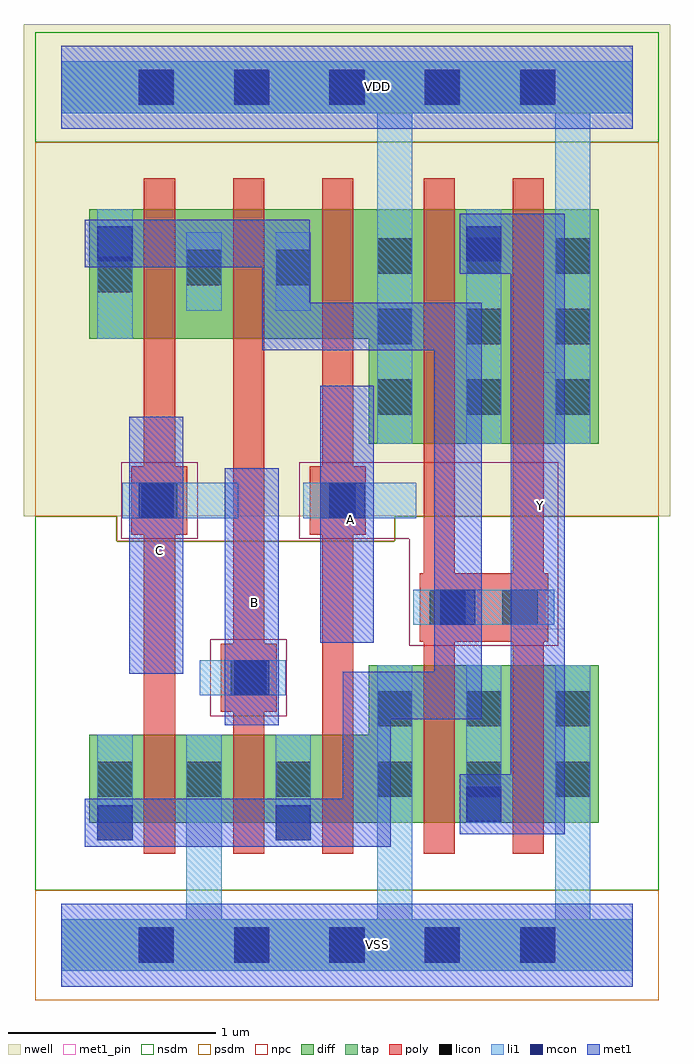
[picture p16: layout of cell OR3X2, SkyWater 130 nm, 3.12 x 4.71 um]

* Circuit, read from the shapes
.subckt OR3X2 A B C VDD VSS Y
XM1 VSS C n1 VSS sky130_fd_pr__nfet_01v8 w=0.425 l=0.15
XM2 n1 B VSS VSS sky130_fd_pr__nfet_01v8 w=0.425 l=0.15
XM3 VSS A n1 VSS sky130_fd_pr__nfet_01v8 w=0.425 l=0.15
XM4 Y n1 VSS VSS sky130_fd_pr__nfet_01v8 w=0.76 l=0.15 m=2
XM5 n2 C n1 VDD sky130_fd_pr__pfet_01v8 w=0.625 l=0.15
XM6 n3 B n2 VDD sky130_fd_pr__pfet_01v8 w=0.625 l=0.15
XM7 VDD A n3 VDD sky130_fd_pr__pfet_01v8 w=0.625 l=0.15
XM8 Y n1 VDD VDD sky130_fd_pr__pfet_01v8 w=1.13 l=0.15 m=2
.ends

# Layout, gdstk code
from math import pi, radians
import gdstk
lib = gdstk.Library(unit=1e-6, precision=1e-09)
def R(c, l, rs):  # rectangles x0, y0, x1, y1
    for r in rs: c.add(gdstk.rectangle(r[:2], r[2:], *l))
def A(c, l, x, y, w, h, nx, ny, dx, dy):  # array of equal rectangles
    R(c, l, [(x+i*dx, y+j*dy, x+i*dx+w, y+j*dy+h) for i in range(nx) for j in range(ny)])
def P(c, l, *ps):  # polygons
    for p in ps: c.add(gdstk.Polygon(p, *l))
nwell = (64, 20)
diff = (65, 20)
tap = (65, 44)
poly = (66, 20)
licon = (66, 44)
li1 = (67, 20)
mcon = (67, 44)
met1_pin = (68, 16)
met1 = (68, 20)
nsdm = (93, 44)
psdm = (94, 20)
npc = (95, 20)

pfet_01v8_cdns_715785618 = lib.new_cell('pfet_01v8_CDNS_7157856182032')
R(pfet_01v8_cdns_715785618, nwell, [(-0.405,-0.18,0.385,0.805)])
R(pfet_01v8_cdns_715785618, diff, [(-0.225,0,0,0.625), (0,0,0.15,0.625), (0.15,0,0.205,0.625)])
R(pfet_01v8_cdns_715785618, poly, [(0,-0.15,0.15,-0.095), (0,-0.095,0.15,0), (0,0,0.15,0.625), (0,0.625,0.15,0.72), (0,0.72,0.15,0.775)])
R(pfet_01v8_cdns_715785618, psdm, [(-0.235,-0.13,0.215,0.755)])

c_pfet_01v8_cdns_715785618 = lib.new_cell('pfet_01v8_CDNS_7157856182023')
R(c_pfet_01v8_cdns_715785618, nwell, [(-0.445,-0.18,1.025,1.31)])
R(c_pfet_01v8_cdns_715785618, diff, [(-0.265,0,0,1.13), (0,0,0.15,1.13), (0.15,0,0.43,1.13), (0.43,0,0.58,1.13), (0.58,0,0.845,1.13)])
R(c_pfet_01v8_cdns_715785618, poly, [(0,-0.15,0.15,-0.095), (0.43,-0.15,0.58,-0.095), (0,-0.095,0.15,0), (0.43,-0.095,0.58,0), (0,0,0.15,1.13), (0.43,0,0.58,1.13), (0,1.13,0.15,1.225), (0.43,1.13,0.58,1.225), (0,1.225,0.15,1.28), (0.43,1.225,0.58,1.28)])
A(c_pfet_01v8_cdns_715785618, licon, -0.225, 0.14, 0.17, 0.17, 3, 3, 0.43, 0.34)
A(c_pfet_01v8_cdns_715785618, li1, -0.225, 0, 0.17, 1.13, 3, 1, 0.43, 0)
R(c_pfet_01v8_cdns_715785618, psdm, [(-0.405,-0.13,0.985,1.26)])

nfet_01v8_cdns_715785618 = lib.new_cell('nfet_01v8_CDNS_7157856182078')
R(nfet_01v8_cdns_715785618, diff, [(-0.055,0,0,0.425), (0,0,0.15,0.425), (0.15,0,0.375,0.425)])
R(nfet_01v8_cdns_715785618, poly, [(0,-0.15,0.15,-0.095), (0,-0.095,0.15,0), (0,0,0.15,0.425), (0,0.425,0.15,0.52), (0,0.52,0.15,0.575)])
R(nfet_01v8_cdns_715785618, licon, [(0.205,0.125,0.375,0.295)])
R(nfet_01v8_cdns_715785618, li1, [(0.205,0,0.375,0.425)])
R(nfet_01v8_cdns_715785618, nsdm, [(-0.065,-0.13,0.385,0.555)])

c_nfet_01v8_cdns_715785618 = lib.new_cell('nfet_01v8_CDNS_71578561820110')
R(c_nfet_01v8_cdns_715785618, diff, [(-0.075,0,0,0.425), (0,0,0.15,0.425), (0.15,0,0.205,0.425)])
R(c_nfet_01v8_cdns_715785618, poly, [(0,-0.15,0.15,-0.095), (0,-0.095,0.15,0), (0,0,0.15,0.425), (0,0.425,0.15,0.52), (0,0.52,0.15,0.575)])
R(c_nfet_01v8_cdns_715785618, nsdm, [(0.045,-0.13,0.215,0.555)])

c_pfet_01v8_cdns_715785618_ = lib.new_cell('pfet_01v8_CDNS_7157856182035')
R(c_pfet_01v8_cdns_715785618_, nwell, [(-0.255,-0.18,0.385,0.805)])
R(c_pfet_01v8_cdns_715785618_, diff, [(-0.075,0,0,0.625), (0,0,0.15,0.625), (0.15,0,0.205,0.625)])
R(c_pfet_01v8_cdns_715785618_, poly, [(0,-0.15,0.15,-0.095), (0,-0.095,0.15,0), (0,0,0.15,0.625), (0,0.625,0.15,0.72), (0,0.72,0.15,0.775)])
R(c_pfet_01v8_cdns_715785618_, psdm, [(0.045,-0.13,0.215,0.755)])

c_pfet_01v8_cdns_715785618__ = lib.new_cell('pfet_01v8_CDNS_7157856182098')
R(c_pfet_01v8_cdns_715785618__, nwell, [(-0.405,-0.18,0.595,0.805)])
R(c_pfet_01v8_cdns_715785618__, diff, [(-0.225,0,0,0.625), (0,0,0.15,0.625), (0.15,0,0.415,0.625)])
R(c_pfet_01v8_cdns_715785618__, poly, [(0,-0.15,0.15,-0.095), (0,-0.095,0.15,0), (0,0,0.15,0.625), (0,0.625,0.15,0.72), (0,0.72,0.15,0.775)])
R(c_pfet_01v8_cdns_715785618__, licon, [(0.205,0.225,0.375,0.395)])
R(c_pfet_01v8_cdns_715785618__, li1, [(0.205,0,0.375,0.625)])
R(c_pfet_01v8_cdns_715785618__, psdm, [(-0.235,-0.13,0.555,0.755)])

c_nfet_01v8_cdns_715785618_ = lib.new_cell('nfet_01v8_CDNS_7157856182028')
R(c_nfet_01v8_cdns_715785618_, diff, [(-0.265,0,0,0.76), (0,0,0.15,0.76), (0.15,0,0.43,0.76), (0.43,0,0.58,0.76), (0.58,0,0.845,0.76)])
R(c_nfet_01v8_cdns_715785618_, poly, [(0,-0.15,0.15,-0.095), (0.43,-0.15,0.58,-0.095), (0,-0.095,0.15,0), (0.43,-0.095,0.58,0), (0,0,0.15,0.76), (0.43,0,0.58,0.76), (0,0.76,0.15,0.855), (0.43,0.76,0.58,0.855), (0,0.855,0.15,0.91), (0.43,0.855,0.58,0.91)])
A(c_nfet_01v8_cdns_715785618_, licon, -0.225, 0.125, 0.17, 0.17, 3, 2, 0.43, 0.34)
A(c_nfet_01v8_cdns_715785618_, li1, -0.225, 0, 0.17, 0.76, 3, 1, 0.43, 0)
R(c_nfet_01v8_cdns_715785618_, nsdm, [(-0.405,-0.13,0.985,0.89)])

c_nfet_01v8_cdns_715785618__ = lib.new_cell('nfet_01v8_CDNS_7157856182096')
R(c_nfet_01v8_cdns_715785618__, diff, [(-0.265,0,0,0.425), (0,0,0.15,0.425), (0.15,0,0.375,0.425)])
R(c_nfet_01v8_cdns_715785618__, poly, [(0,-0.15,0.15,-0.095), (0,-0.095,0.15,0), (0,0,0.15,0.425), (0,0.425,0.15,0.52), (0,0.52,0.15,0.575)])
R(c_nfet_01v8_cdns_715785618__, licon, [(-0.225,0.125,-0.055,0.295), (0.205,0.125,0.375,0.295)])
R(c_nfet_01v8_cdns_715785618__, li1, [(-0.225,0,-0.055,0.425), (0.205,0,0.375,0.425)])
R(c_nfet_01v8_cdns_715785618__, nsdm, [(-0.405,-0.13,0.385,0.555)])

l1m1_c_cdns_715785618202 = lib.new_cell('L1M1_C_CDNS_7157856182024')
R(l1m1_c_cdns_715785618202, li1, [(-0.085,-0.085,0.085,0.165)])
R(l1m1_c_cdns_715785618202, mcon, [(-0.085,-0.085,0.085,0.085)])
R(l1m1_c_cdns_715785618202, met1, [(-0.145,-0.115,0.145,0.115)])

l1m1_c_cdns_715785618203 = lib.new_cell('L1M1_C_CDNS_715785618203')
R(l1m1_c_cdns_715785618203, li1, [(-0.165,-0.085,0.165,0.085)])
R(l1m1_c_cdns_715785618203, mcon, [(-0.085,-0.085,0.085,0.085)])
R(l1m1_c_cdns_715785618203, met1, [(-0.115,-0.145,0.115,0.145)])

l1m1_c_cdns_715785618201 = lib.new_cell('L1M1_C_CDNS_7157856182010')
R(l1m1_c_cdns_715785618201, li1, [(-0.085,-0.085,0.085,0.165)])
R(l1m1_c_cdns_715785618201, mcon, [(-0.085,-0.085,0.085,0.085)])
R(l1m1_c_cdns_715785618201, met1, [(-0.115,-0.145,0.115,0.145)])

licondiff_c_cdns_7157856 = lib.new_cell('LICONDIFF_C_CDNS_7157856182013')
R(licondiff_c_cdns_7157856, diff, [(-0.125,-0.145,0.125,0.145)])
R(licondiff_c_cdns_7157856, licon, [(-0.085,-0.085,0.085,0.085), (-0.085,-0.085,0.085,0.085)])

pyl1con_c_cdns_715785618 = lib.new_cell('PYL1CON_C_CDNS_715785618200')
R(pyl1con_c_cdns_715785618, poly, [(-0.135,-0.165,0.135,0.165)])
R(pyl1con_c_cdns_715785618, licon, [(-0.085,-0.085,0.085,0.085)])
R(pyl1con_c_cdns_715785618, npc, [(-0.185,-0.185,0.185,0.185)])

l1m1_c_cdns_715785618206 = lib.new_cell('L1M1_C_CDNS_715785618206')
R(l1m1_c_cdns_715785618206, li1, [(-0.085,-0.165,0.085,0.165)])
R(l1m1_c_cdns_715785618206, mcon, [(-0.085,-0.085,0.085,0.085)])
R(l1m1_c_cdns_715785618206, met1, [(-0.145,-0.115,0.145,0.115)])

c_l1m1_c_cdns_715785618202 = lib.new_cell('L1M1_C_CDNS_715785618202')
R(c_l1m1_c_cdns_715785618202, li1, [(-0.085,-0.165,0.085,0.165)])
R(c_l1m1_c_cdns_715785618202, mcon, [(-0.085,-0.085,0.085,0.085)])
R(c_l1m1_c_cdns_715785618202, met1, [(-0.115,-0.145,0.115,0.145)])

or3x2 = lib.new_cell('OR3X2')
R(or3x2, nwell, [(-0.18,2.07,2.94,4.305), (-0.18,3.875,2.94,4.445)])
R(or3x2, poly, [(1.73,1.465,2.35,1.795)])
A(or3x2, licon, 0.375, -0.085, 0.17, 0.17, 5, 1, 0.46, 0)
R(or3x2, licon, [(0.375,4.055,0.545,4.225), (0.375,4.055,0.545,4.225), (0.835,4.055,1.005,4.225), (0.835,4.055,1.005,4.225), (1.295,4.055,1.465,4.225), (1.295,4.055,1.465,4.225), (1.755,4.055,1.925,4.225), (1.755,4.055,1.925,4.225), (2.215,4.055,2.385,4.225), (2.215,4.055,2.385,4.225)])
A(or3x2, mcon, 0.375, -0.085, 0.17, 0.17, 5, 1, 0.46, 0)
R(or3x2, mcon, [(0.375,4.055,0.545,4.225), (0.375,4.055,0.545,4.225), (0.835,4.055,1.005,4.225), (0.835,4.055,1.005,4.225), (1.295,4.055,1.465,4.225), (1.295,4.055,1.465,4.225), (1.755,4.055,1.925,4.225), (1.755,4.055,1.925,4.225), (2.215,4.055,2.385,4.225), (2.215,4.055,2.385,4.225)])
R(or3x2, met1_pin, [(0,-0.2,2.76,0.2), (0.79,1.06,1.05,2.3), (0.33,1.31,0.59,2.55), (1.25,1.46,1.51,2.7), (2.17,1.525,2.43,2.765), (0,3.94,2.76,4.34)])
R(or3x2, nsdm, [(-0.125,3.875,2.885,4.405), (-0.125,3.875,2.885,4.405), (-0.125,3.93,2.885,4.35), (-0.125,3.93,2.885,4.35)])
P(or3x2, nsdm, [(2.885,2.07),(1.61,2.07),(1.61,1.95),(0.27,1.95),(0.27,2.07),(-0.125,2.07),(-0.125,0.265),(2.885,0.265)])
R(or3x2, psdm, [(-0.125,-0.265,2.885,0.265), (-0.125,-0.21,2.885,0.21)])
P(or3x2, psdm, [(2.885,3.875),(-0.125,3.875),(-0.125,2.07),(0.27,2.07),(0.27,1.95),(1.61,1.95),(1.61,2.07),(2.885,2.07)])
P(or3x2, npc, [(2.4,2.33),(1.15,2.33),(1.15,1.96),(1.68,1.96),(1.68,1.445),(2.4,1.445)])
or3x2.add(gdstk.FlexPath([(1.61,-0.125),(1.61,0.59)], 0.17, ends="flush", simple_path=True, layer=67, datatype=20))  # li1
or3x2.add(gdstk.FlexPath([(1.12,3.06),(1.12,3.44)], 0.17, ends="flush", simple_path=True, layer=67, datatype=20))  # li1
or3x2.add(gdstk.FlexPath([(1.7,1.63),(2.38,1.63)], 0.17, ends="flush", simple_path=True, layer=67, datatype=20))  # li1
or3x2.add(gdstk.FlexPath([(1.17,2.145),(1.715,2.145)], 0.17, ends="flush", simple_path=True, layer=67, datatype=20))  # li1
or3x2.add(gdstk.FlexPath([(0.74,1.29),(1.085,1.29)], 0.17, ends="flush", simple_path=True, layer=67, datatype=20))  # li1
or3x2.add(gdstk.FlexPath([(1.38,2.145),(1.17,2.145)], 0.17, ends="flush", simple_path=True, layer=67, datatype=20))  # li1
or3x2.add(gdstk.FlexPath([(0.755,1.29),(0.755,1.26)], 0.17, ends=(0.085, 0), simple_path=True, layer=67, datatype=20))  # li1
or3x2.add(gdstk.FlexPath([(0.69,-0.125),(0.69,0.59)], 0.17, ends="flush", simple_path=True, layer=67, datatype=20))  # li1
or3x2.add(gdstk.FlexPath([(0.69,3.06),(0.69,3.44)], 0.17, ends="flush", simple_path=True, layer=67, datatype=20))  # li1
or3x2.add(gdstk.FlexPath([(0.92,1.29),(0.755,1.29)], 0.17, ends=(0, 0.085), simple_path=True, layer=67, datatype=20))  # li1
or3x2.add(gdstk.FlexPath([(0.31,2.145),(0.855,2.145)], 0.17, ends="flush", simple_path=True, layer=67, datatype=20))  # li1
or3x2.add(gdstk.FlexPath([(2.47,3.55),(2.47,4.265)], 0.17, ends="flush", simple_path=True, layer=67, datatype=20))  # li1
or3x2.add(gdstk.FlexPath([(0.31,2.145),(0.855,2.145)], 0.17, ends="flush", simple_path=True, layer=67, datatype=20))  # li1
or3x2.add(gdstk.FlexPath([(2.675,4.14),(0,4.14)], 0.25, ends=(0.085, 0), simple_path=True, layer=67, datatype=20))  # li1
or3x2.add(gdstk.FlexPath([(2.675,4.14),(0,4.14)], 0.25, ends=(0.085, 0), simple_path=True, layer=67, datatype=20))  # li1
or3x2.add(gdstk.FlexPath([(1.61,3.55),(1.61,4.265)], 0.17, ends="flush", simple_path=True, layer=67, datatype=20))  # li1
or3x2.add(gdstk.FlexPath([(2.47,-0.125),(2.47,0.59)], 0.17, ends="flush", simple_path=True, layer=67, datatype=20))  # li1
or3x2.add(gdstk.FlexPath([(1.7,1.63),(2.38,1.63)], 0.17, ends="flush", simple_path=True, layer=67, datatype=20))  # li1
or3x2.add(gdstk.FlexPath([(2.675,0),(0,0)], 0.25, ends=(0.085, 0), simple_path=True, layer=67, datatype=20))  # li1
or3x2.add(gdstk.FlexPath([(0.475,2.925),(0.475,1.015)], 0.15, ends="flush", simple_path=True, layer=66, datatype=20))  # poly
or3x2.add(gdstk.FlexPath([(2.255,2.42),(2.255,1.35)], 0.15, ends="flush", simple_path=True, layer=66, datatype=20))  # poly
or3x2.add(gdstk.FlexPath([(1.825,2.42),(1.825,1.35)], 0.15, ends="flush", simple_path=True, layer=66, datatype=20))  # poly
or3x2.add(gdstk.FlexPath([(1.335,2.925),(1.335,1.015)], 0.15, ends="flush", simple_path=True, layer=66, datatype=20))  # poly
or3x2.add(gdstk.FlexPath([(0.905,2.925),(0.905,1.015)], 0.15, ends="flush", simple_path=True, layer=66, datatype=20))  # poly
or3x2.add(gdstk.FlexPath([(0,4.14),(2.76,4.14)], 0.25, ends="flush", simple_path=True, layer=65, datatype=44))  # tap
or3x2.add(gdstk.FlexPath([(0,4.14),(2.76,4.14)], 0.25, ends="flush", simple_path=True, layer=65, datatype=44))  # tap
or3x2.add(gdstk.FlexPath([(0,0),(2.76,0)], 0.25, ends="flush", simple_path=True, layer=65, datatype=44))  # tap
or3x2.add(gdstk.FlexPath([(1.085,2.985),(1.915,2.985)], 0.23, ends="extended", simple_path=True, layer=68, datatype=20))  # met1
or3x2.add(gdstk.FlexPath([(1.085,3.385),(1.085,2.985)], 0.23, ends="extended", simple_path=True, layer=68, datatype=20))  # met1
or3x2.add(gdstk.FlexPath([(1.915,1.26),(1.915,1.205)], 0.23, ends=(0, 0.115), simple_path=True, layer=68, datatype=20))  # met1
or3x2.add(gdstk.FlexPath([(0.275,3.385),(1.085,3.385)], 0.23, ends=(0, 0.115), simple_path=True, layer=68, datatype=20))  # met1
or3x2.add(gdstk.FlexPath([(1.475,0.59),(0.26,0.59)], 0.23, ends=(0.115, 0), simple_path=True, layer=68, datatype=20))  # met1
or3x2.add(gdstk.FlexPath([(2.155,0.68),(2.04,0.68)], 0.29, ends=(0.145, 0), simple_path=True, layer=68, datatype=20))  # met1
or3x2.add(gdstk.FlexPath([(2.3,3.53),(2.3,0.535)], 0.26, ends="flush", simple_path=True, layer=68, datatype=20))  # met1
or3x2.add(gdstk.FlexPath([(0.92,1.06),(0.92,2.3)], 0.26, ends="flush", simple_path=True, layer=68, datatype=20))  # met1
or3x2.add(gdstk.FlexPath([(2.155,0.535),(2.155,0.68)], 0.29, ends=(0, 0.145), simple_path=True, layer=68, datatype=20))  # met1
or3x2.add(gdstk.FlexPath([(1.915,2.985),(1.915,1.92)], 0.23, ends=(0.115, 0), simple_path=True, layer=68, datatype=20))  # met1
or3x2.add(gdstk.FlexPath([(1.915,1.92),(1.915,1.68)], 0.23, ends=(0, 0.115), simple_path=True, layer=68, datatype=20))  # met1
or3x2.add(gdstk.FlexPath([(1.915,1.68),(1.915,1.425)], 0.23, ends=(0, 0.115), simple_path=True, layer=68, datatype=20))  # met1
or3x2.add(gdstk.FlexPath([(0.46,1.31),(0.46,2.55)], 0.26, ends="flush", simple_path=True, layer=68, datatype=20))  # met1
or3x2.add(gdstk.FlexPath([(1.475,1.205),(1.475,0.59)], 0.23, ends="extended", simple_path=True, layer=68, datatype=20))  # met1
or3x2.add(gdstk.FlexPath([(1.38,1.46),(1.38,2.7)], 0.26, ends="flush", simple_path=True, layer=68, datatype=20))  # met1
or3x2.add(gdstk.FlexPath([(1.915,1.205),(1.475,1.205)], 0.23, ends="extended", simple_path=True, layer=68, datatype=20))  # met1
or3x2.add(gdstk.FlexPath([(0,0),(2.76,0)], 0.4, ends="flush", simple_path=True, layer=68, datatype=20))  # met1
or3x2.add(gdstk.FlexPath([(2.3,3.385),(2.04,3.385)], 0.29, ends="flush", simple_path=True, layer=68, datatype=20))  # met1
or3x2.add(gdstk.FlexPath([(1.915,1.425),(1.915,1.26)], 0.23, ends=(0, 0.115), simple_path=True, layer=68, datatype=20))  # met1
or3x2.add(gdstk.FlexPath([(0,4.14),(2.76,4.14)], 0.4, ends="flush", simple_path=True, layer=68, datatype=20))  # met1
or3x2.add(gdstk.FlexPath([(0,4.14),(2.76,4.14)], 0.4, ends="flush", simple_path=True, layer=68, datatype=16))  # met1_pin
or3x2.add(gdstk.Reference(pfet_01v8_cdns_715785618, (0.98,2.925), rotation=pi, x_reflection=True))
or3x2.add(gdstk.Reference(c_pfet_01v8_cdns_715785618, (1.75,2.42)))
or3x2.add(gdstk.Reference(nfet_01v8_cdns_715785618, (0.83,0.59)))
or3x2.add(gdstk.Reference(c_nfet_01v8_cdns_715785618, (1.41,0.59), rotation=pi, x_reflection=True))
or3x2.add(gdstk.Reference(c_pfet_01v8_cdns_715785618_, (1.41,2.925), rotation=pi, x_reflection=True))
or3x2.add(gdstk.Reference(c_pfet_01v8_cdns_715785618__, (0.55,2.925), rotation=pi, x_reflection=True))
or3x2.add(gdstk.Reference(c_nfet_01v8_cdns_715785618_, (1.75,0.59)))
or3x2.add(gdstk.Reference(c_nfet_01v8_cdns_715785618__, (0.4,0.59)))
or3x2.add(gdstk.Reference(l1m1_c_cdns_715785618202, (0.26,0.59)))
or3x2.add(gdstk.Reference(l1m1_c_cdns_715785618202, (1.12,0.59)))
or3x2.add(gdstk.Reference(l1m1_c_cdns_715785618203, (1.915,1.63)))
or3x2.add(gdstk.Reference(l1m1_c_cdns_715785618203, (0.46,2.145), x_reflection=True))
or3x2.add(gdstk.Reference(l1m1_c_cdns_715785618203, (0.92,1.29), x_reflection=True))
or3x2.add(gdstk.Reference(l1m1_c_cdns_715785618203, (1.38,2.145), x_reflection=True))
or3x2.add(gdstk.Reference(l1m1_c_cdns_715785618201, (2.04,0.68)))
or3x2.add(gdstk.Reference(licondiff_c_cdns_7157856, (1.12,3.27)))
or3x2.add(gdstk.Reference(licondiff_c_cdns_7157856, (0.69,3.27)))
or3x2.add(gdstk.Reference(pyl1con_c_cdns_715785618, (1.865,1.63), rotation=pi, x_reflection=True))
or3x2.add(gdstk.Reference(pyl1con_c_cdns_715785618, (0.475,2.145), x_reflection=True))
or3x2.add(gdstk.Reference(pyl1con_c_cdns_715785618, (0.905,1.29), x_reflection=True))
or3x2.add(gdstk.Reference(pyl1con_c_cdns_715785618, (1.335,2.145), x_reflection=True))
or3x2.add(gdstk.Reference(pyl1con_c_cdns_715785618, (2.215,1.63), rotation=pi, x_reflection=True))
or3x2.add(gdstk.Reference(l1m1_c_cdns_715785618206, (0.26,3.385)))
or3x2.add(gdstk.Reference(c_l1m1_c_cdns_715785618202, (2.04,3.385)))
or3x2.add(gdstk.Label('A', (1.395,2.055), layer=68, texttype=20))
or3x2.add(gdstk.Label('B', (0.935,1.655), layer=68, texttype=20))
or3x2.add(gdstk.Label('C', (0.475,1.905), layer=68, texttype=20))
or3x2.add(gdstk.Label('Y', (2.315,2.12), layer=68, texttype=20))
or3x2.add(gdstk.Label('VSS', (1.525,0.005), layer=68, texttype=20))
or3x2.add(gdstk.Label('VDD', (1.525,4.145), layer=68, texttype=20))
or3x2.add(gdstk.Label('VDD', (1.525,4.145), layer=68, texttype=20))

lib.write_gds('OR3X2.gds')
